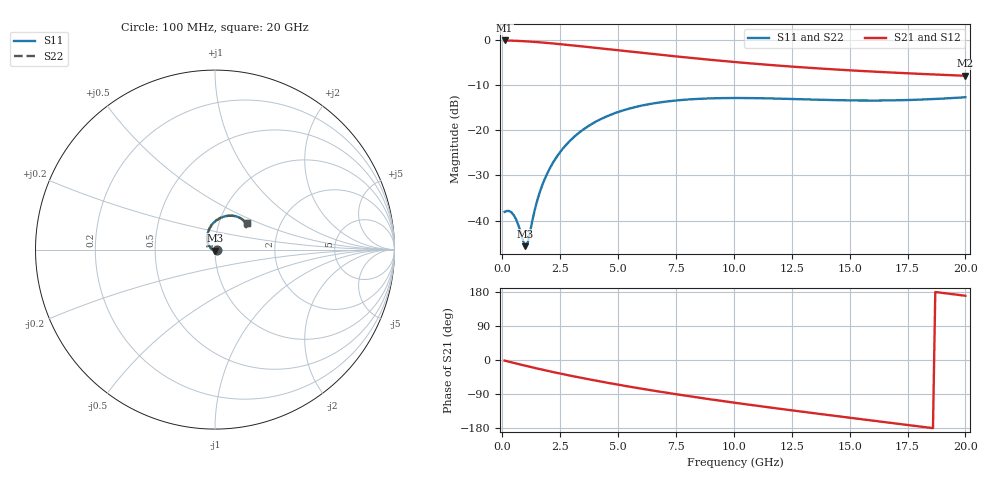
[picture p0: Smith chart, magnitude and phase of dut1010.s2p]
! Touchstone file exported from HFSS 2024.1.0
!  File:  C:/UserFiles/LocalFiles/RDL_TSV_Batchsim/temp_RDL_TSV_1010_1780078379.aedt
!  Generated:  02:27:31 AM May 30, 2026
!  Design:  RDL_TSV
!  Project:  temp_RDL_TSV_1010_1780078379
!  Setup:  Setup1
!  Solution:  Sweep
! Variables:
!  dtsv = 6.71um
!  hbump = 3um
!  htsv = 85.77um
!  ldown = 357.67um
!  lrdl = 404.53um
!  p = 40
!  p1 = 43.65um
!  rhole = 10um
!  subl = 2691.13um
!  t = 450um
!  tdown = 4.7um
!  trdl = 2.9um
!  viad = 10um
!  wdown = 29.11um
!  wrdl = 25.51um
!  xbump = 18um
# GHz S MA R 50.000000
! Terminal data exported
! Port[1] = TM1_1_T1
! Port[2] = TM1_4_T1
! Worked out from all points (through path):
!   200 points, 100 MHz to 20 GHz, reference 50 ohm
!   highest |S21| = -0.11 dB at 100 MHz (marker M1); lowest = -7.9 dB at 20 GHz (marker M2)
!   group delay of S21, straight-line fit = 25.2 ps
!   lowest |S11| = -45.7 dB at 1 GHz (marker M3), VSWR 1.01, Z = 49.9 - j0.515 ohm
!   |S11| at or under -10 dB: start of sweep to end of sweep
!   |S22| runs from -45.7 to -12.7 dB; largest |S21 - S12| = 8.9e-15
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0.1  0.01247 -0.3  0.9872 -1.6  0.9872 -1.6  0.01247 -0.3
! Gamma 0 0 0 0
! Port Impedance 50 0 50 0
0.3  0.01275 -7.3  0.9841 -4.7  0.9841 -4.7  0.01275 -7.3
0.5  0.01142 -19.4  0.9802 -7.7  0.9802 -7.7  0.01143 -19.4
0.7  0.008828 -36.5  0.9754 -10.7  0.9754 -10.7  0.008836 -36.5
0.9  0.005933 -68.6  0.9697 -13.7  0.9697 -13.7  0.005943 -68.5
1  0.005201 -97.1  0.9665 -15.2  0.9665 -15.2  0.005206 -96.9
1.1  0.005724 -129.1  0.963 -16.6  0.963 -16.6  0.00572 -128.9
1.4  0.01304 -179.6  0.9513 -20.9  0.9513 -20.9  0.01302 -179.5
1.6  0.0199 166.5  0.9427 -23.7  0.9427 -23.7  0.01987 166.6
2  0.03566 149.6  0.9238 -29.2  0.9238 -29.2  0.03561 149.6
2.3  0.04855 140.3  0.9086 -33.2  0.9086 -33.2  0.04848 140.4
2.7  0.06641 130.0  0.8879 -38.3  0.8879 -38.3  0.06632 130.0
3.5  0.102 113.1  0.8457 -48.1  0.8457 -48.1  0.1019 113.1
4.2  0.1308 100.9  0.8094 -56.2  0.8094 -56.2  0.1306 100.9
4.9  0.1559 90.4  0.7743 -64.0  0.7743 -64.0  0.1557 90.4
6.8  0.2033 68.2  0.6866 -83.5  0.6866 -83.5  0.2029 68.2
8.4  0.2221 55.0  0.6234 -98.5  0.6234 -98.5  0.2217 55.0
10.1  0.2276 45.2  0.5676 -113.3  0.5676 -113.3  0.2271 45.3
11.7  0.2247 39.4  0.525 -126.5  0.525 -126.5  0.2242 39.4
13.4  0.2186 36.2  0.4886 -139.9  0.4886 -139.9  0.2181 36.3
16.7  0.2139 36.9  0.4371 -165.3  0.4371 -165.3  0.2135 37.0
20  0.2319 40.1  0.401 169.5  0.401 169.5  0.2316 40.3
